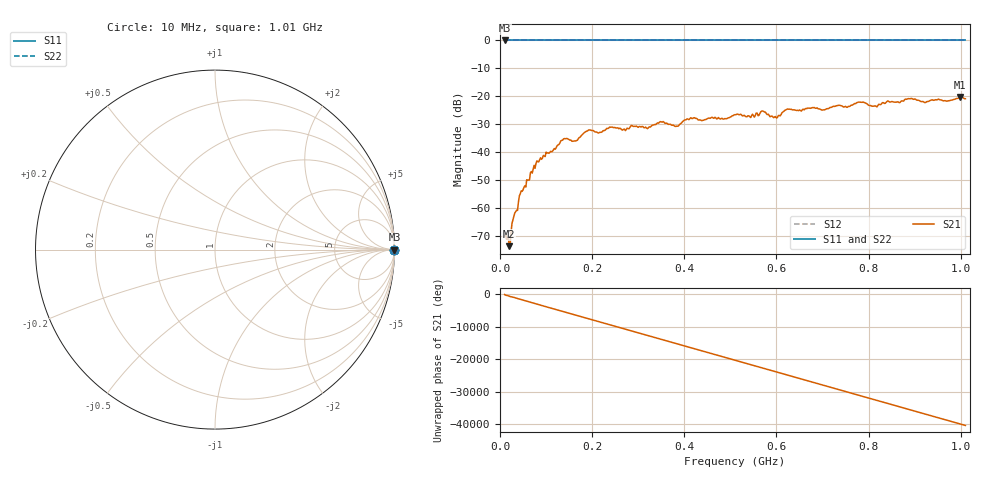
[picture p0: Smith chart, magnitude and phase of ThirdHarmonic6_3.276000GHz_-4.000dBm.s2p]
! 8/17/2025 10:08:51 AM
! C:\ANRITSUVNA\TEMP\TEMP.S2P
! CHANNEL.1
! TR.MEASUREMENT
! RAW.DATA
! RF.CORRECTION.OFF
! AVERAGING.OFF
! IF.BANDWIDTH: 5KHZ
! SWEEPTYPE:  FREQ.SWEEP(Linear)
! Reference Plane Port Info
! PORT:  PORT1  PORT2
! DISTANCE:  0  m  0  m
! TIME:  0  s  0  s
! PHASE.OFFSET:  0  deg.  0  deg.
! LOSS:  0  dB  0  dB
! REF.LOSS:  0  dB  0  dB
! REF.FREQ:  0  Hz  0  Hz
! Power Info
! POWER:  -20  dBm  -20  dBm
! EFF.POWER:  -20  dBm  -20  dBm
! SOURCE.ATTEN:  0  dB  0  dB
! TEST.ATTEN:  0  dB  0  dB
# GHZ S RI R 50.0
! FREQ.GHZ  S11RE  S11IM  S21RE  S21IM  S12RE  S12IM  S22RE  S22IM
!; PortSelection: Port_12
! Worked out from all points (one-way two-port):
!   501 points, 10 MHz to 1.01 GHz, reference 50 ohm
!   highest |S21| = -20.26 dB at 998 MHz (marker M1); lowest = -73.8 dB at 20 MHz (marker M2)
!   lowest |S11| = 0.0 dB at 10 MHz (marker M3)
!   |S11| at or under -10 dB: nowhere
!   |S22| runs from 0.0 to 0.0 dB; largest |S21 - S12| = 1.1
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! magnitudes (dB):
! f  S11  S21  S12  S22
! 10 MHz  0.0  -70.0  0.0  0.0
! 20 MHz  0.0  -73.8  0.0  0.0
! 30 MHz  0.0  -63.0  0.0  0.0
! 44 MHz  0.0  -55.0  0.0  0.0
! 78 MHz  0.0  -44.2  0.0  0.0
! 136 MHz  0.0  -35.7  0.0  0.0
! 164 MHz  0.0  -36.0  0.0  0.0
! 178 MHz  0.0  -33.9  0.0  0.0
! 194 MHz  0.0  -32.1  0.0  0.0
! 344 MHz  0.0  -29.7  0.0  0.0
! 384 MHz  0.0  -30.7  0.0  0.0
! 418 MHz  0.0  -28.0  0.0  0.0
! 510 MHz  0.0  -26.6  0.0  0.0
! 570 MHz  0.0  -25.3  0.0  0.0
! 598 MHz  0.0  -27.3  0.0  0.0
! 624 MHz  0.0  -24.6  0.0  0.0
! 678 MHz  0.0  -24.1  0.0  0.0
! 780 MHz  0.0  -22.1  0.0  0.0
! 814 MHz  0.0  -23.4  0.0  0.0
! 844 MHz  0.0  -21.9  0.0  0.0
! 998 MHz  0.0  -20.3  0.0  0.0
! 1.01 GHz  0.0  -20.9  0.0  0.0
